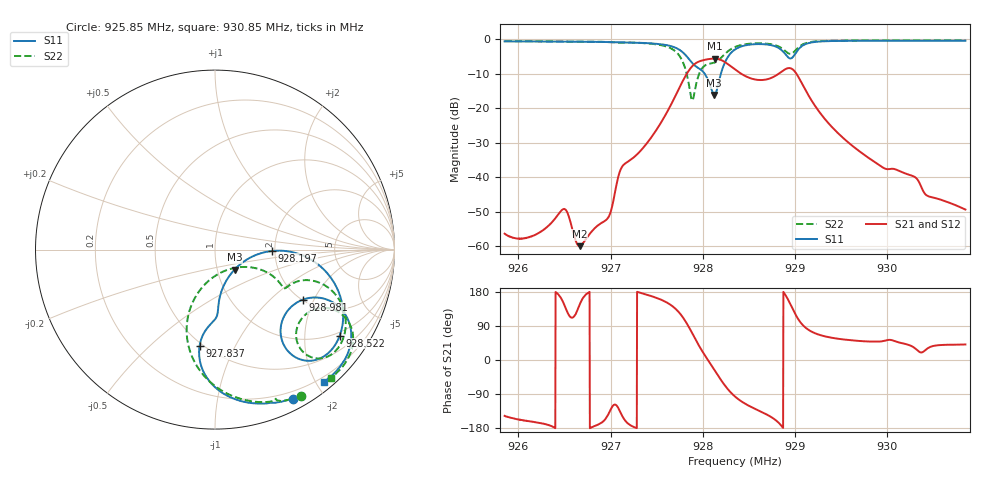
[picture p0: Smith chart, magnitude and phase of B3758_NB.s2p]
! Matrix data file written by TouchstoneData, EPCOS AG
! FILENAME: "B3758_NB.s2p"
! COMMENT: "un-matching S-parameter for B3758"
! INFO: nport=2, nfreq=1601
! DATE: "Tue Nov  6 09:40:43 2012"
! USER: "Eluer Wang"
! port | pin | signal
!  1  |  2  |  in
!  2  |  4  |  out
# MHZ S MA R 50
! freq  magS11 angS11  magS21 angS21  magS12 angS12  magS22 angS22
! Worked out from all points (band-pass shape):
!   1601 points, 925.85 MHz to 930.85 MHz, reference 50 ohm
!   highest |S21| = -5.57 dB at 928.128 MHz (marker M1); lowest = -60.0 dB at 926.666 MHz (marker M2)
!   |S21| within 3 dB of the highest: 927.8614 MHz to 928.342 MHz (480.5 kHz wide, 0.0518 % of centre); 928.9009 MHz to 928.9696 MHz (68.71 kHz wide, 0.0074 % of centre)
!   lowest |S11| = -16.1 dB at 928.125 MHz (marker M3), VSWR 1.37, Z = 60.6 - j13.8 ohm
!   |S11| at or under -10 dB: 928.022 MHz to 928.1965 MHz (174.6 kHz wide, 0.0188 % of centre)
!   |S22| runs from -17.7 to -0.3 dB; largest |S21 - S12| = 0.0017
!   S11 on the Smith chart (normalised r, x): 925.85 MHz: 0.12, -1.65; 927.837 MHz: 0.48, -0.73; 928.197 MHz: 1.93, -0.03; 928.522 MHz: 0.89, -2.97; 928.981 MHz: 2.01, -1.64; 930.85 MHz: 0.12, -2.12
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925.85  0.9367 -62.4  0.001521 -147.5  0.001519 -147.3  0.9455 -59.6
926.1625  0.9342 -63.5  0.001422 -163.4  0.00143 -163.7  0.9424 -60.7
926.4969  0.9272 -65.0  0.003482 146.1  0.003474 146.0  0.9346 -62.4
926.6656  0.9261 -65.9  0.001003 146.5  0.001014 146.7  0.9328 -63.5
926.6844  0.9257 -66.1  0.001056 157.4  0.00105 156.0  0.9324 -63.7
926.9781  0.9159 -68.7  0.002672 -142.4  0.002655 -142.3  0.9163 -66.9
927.1281  0.9066 -70.3  0.01447 -148.5  0.01447 -148.6  0.8994 -68.0
927.5188  0.8589 -79.9  0.05398 162.1  0.05395 162.0  0.8396 -80.8
927.7313  0.7279 -92.8  0.1807 128.7  0.1805 128.6  0.6159 -101.7
927.8375  0.5445 -99.1  0.3348 92.0  0.3345 92.0  0.2697 -111.9
927.8906  0.4467 -96.2  0.4151 68.4  0.4148 68.4  0.1315 -60.5
927.9875  0.3567 -87.8  0.4927 26.1  0.4927 26.0  0.3724 -25.4
928.125  0.1558 -45.4  0.5267 -25.5  0.5267 -25.7  0.4594 -25.7
928.1281  0.1559 -42.0  0.5267 -26.7  0.5266 -26.9  0.4609 -25.4
928.1969  0.3175 -1.4  0.5042 -52.3  0.504 -52.5  0.5377 -18.4
928.35  0.7145 -17.7  0.366 -96.4  0.3659 -96.5  0.7767 -23.9
928.5219  0.8442 -34.6  0.2724 -123.5  0.2723 -123.7  0.8699 -34.9
928.8031  0.7772 -52.0  0.3046 -161.1  0.3046 -161.2  0.8108 -47.9
928.9813  0.5619 -29.8  0.3629 132.3  0.3627 132.1  0.6431 -31.4
929.1844  0.9057 -33.0  0.1279 74.4  0.1278 74.3  0.9225 -33.4
930.0188  0.9564 -47.3  0.01314 53.2  0.01314 53.1  0.9637 -45.2
930.85  0.9572 -50.4  0.003409 41.0  0.003408 41.0  0.9657 -47.9
